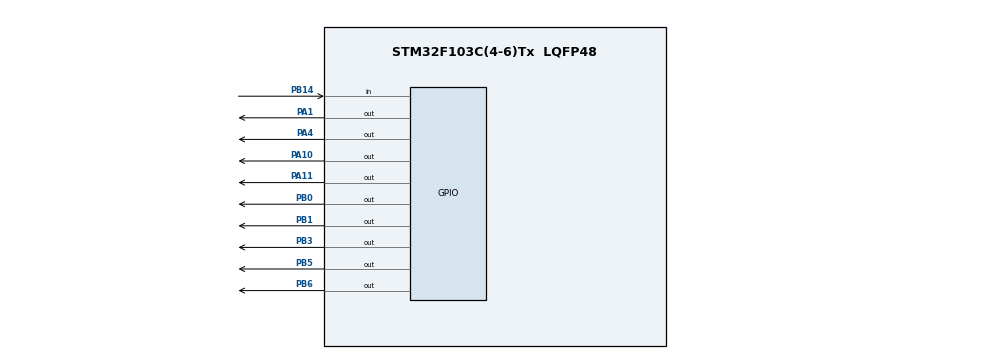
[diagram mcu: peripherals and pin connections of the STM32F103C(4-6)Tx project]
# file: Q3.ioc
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Mcu.Family=STM32F1
ProjectManager.StackSize=0x400
PA13.Signal=SYS_JTMS-SWDIO
ProjectManager.TargetToolchain=STM32CubeIDE
PB6.Signal=GPIO_Output
PA1.Signal=GPIO_Output
PB14.Signal=GPIO_Input
board=custom
RCC.APB2Freq_Value=8000000
PA14.Mode=Serial_Wire
PA13.Mode=Serial_Wire
Mcu.Name=STM32F103C(4-6)Tx
PB3.Signal=GPIO_Output
PA4.Signal=GPIO_Output
Mcu.Package=LQFP48
PB5.Signal=GPIO_Output
PB1.Signal=GPIO_Output
PA11.Signal=GPIO_Output
PA10.Signal=GPIO_Output
PA14.Signal=SYS_JTCK-SWCLK
ProjectManager.HeapSize=0x200
NVIC.PriorityGroup=NVIC_PRIORITYGROUP_4
RCC.APB1Freq_Value=8000000
PB0.Signal=GPIO_Output

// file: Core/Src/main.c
/* USER CODE BEGIN Header */
/**
  ******************************************************************************
  * @file           : main.c
  * @brief          : Main program body
  ******************************************************************************
  * @attention
  *
  * <h2><center>&copy; Copyright (c) 2021 STMicroelectronics.
  * All rights reserved.</center></h2>
  *
  * This software component is licensed by ST under BSD 3-Clause license,
  * the "License"; You may not use this file except in compliance with the
  * License. You may obtain a copy of the License at:
  *                        opensource.org/licenses/BSD-3-Clause
  *
  ******************************************************************************
  */
/* USER CODE END Header */
#include "main.h"

void SystemClock_Config(void);
static void MX_GPIO_Init(void);

int main(void)
{
  /* USER CODE BEGIN 1 */
	//int n=0, t=600;
  /* USER CODE END 1 */

  /* MCU Configuration--------------------------------------------------------*/

  /* Reset of all peripherals, Initializes the Flash interface and the Systick. */
  HAL_Init();

  /* Configure the system clock */
  SystemClock_Config();

  /* Initialize all configured peripherals */
  MX_GPIO_Init();

  /* Infinite loop */
  while (1)
  {

    /* USER CODE BEGIN 3 */

	  // 0
	  GPIOB -> BSRR = (1<<1)+(1<<0);
	  GPIOB -> ODR = (1<<1)+(1<<0)+(1<<6);
	  GPIOB -> BRR = (1<<0);
	  HAL_Delay(500);

	  GPIOB -> BSRR = (1<<1)+(1<<0);
	  GPIOB -> ODR = (1<<1)+(1<<0)+(1<<6);
	  GPIOB -> BRR = (1<<1);
	  HAL_Delay(500);

	  // 1
	  GPIOB -> BSRR = (1<<1)+(1<<0);
	  GPIOA -> ODR = (1<<4)+(1<<10);
	  GPIOB -> ODR = (1<<1)+(1<<0)+(1<<5);
	  GPIOB -> BRR = (1<<0);
	  HAL_Delay(500);

	  GPIOB -> BSRR = (1<<1)+(1<<0);
	  GPIOB -> ODR = (1<<1)+(1<<0)+(1<<19)+(1<<22)+(1<<6);
	  GPIOA-> ODR = (1<<1)+(1<<20)+(1<<11)+(1<<26);
	  GPIOB -> BRR = (1<<1);
	  HAL_Delay(500);
  }
  /* USER CODE END 3 */
}

void SystemClock_Config(void)
{
  RCC_OscInitTypeDef RCC_OscInitStruct = {0};
  RCC_ClkInitTypeDef RCC_ClkInitStruct = {0};

  /** Initializes the RCC Oscillators according to the specified parameters
  * in the RCC_OscInitTypeDef structure.
  */
  RCC_OscInitStruct.OscillatorType = RCC_OSCILLATORTYPE_HSI;
  RCC_OscInitStruct.HSIState = RCC_HSI_ON;
  RCC_OscInitStruct.HSICalibrationValue = RCC_HSICALIBRATION_DEFAULT;
  RCC_OscInitStruct.PLL.PLLState = RCC_PLL_NONE;
  if (HAL_RCC_OscConfig(&RCC_OscInitStruct) != HAL_OK)
  {
    Error_Handler();
  }
  /** Initializes the CPU, AHB and APB buses clocks
  */
  RCC_ClkInitStruct.ClockType = RCC_CLOCKTYPE_HCLK|RCC_CLOCKTYPE_SYSCLK
                              |RCC_CLOCKTYPE_PCLK1|RCC_CLOCKTYPE_PCLK2;
  RCC_ClkInitStruct.SYSCLKSource = RCC_SYSCLKSOURCE_HSI;
  RCC_ClkInitStruct.AHBCLKDivider = RCC_SYSCLK_DIV1;
  RCC_ClkInitStruct.APB1CLKDivider = RCC_HCLK_DIV1;
  RCC_ClkInitStruct.APB2CLKDivider = RCC_HCLK_DIV1;

  if (HAL_RCC_ClockConfig(&RCC_ClkInitStruct, FLASH_LATENCY_0) != HAL_OK)
  {
    Error_Handler();
  }
}

static void MX_GPIO_Init(void)
{
  GPIO_InitTypeDef GPIO_InitStruct = {0};

  /* GPIO Ports Clock Enable */
  __HAL_RCC_GPIOA_CLK_ENABLE();
  __HAL_RCC_GPIOB_CLK_ENABLE();

  /*Configure GPIO pin Output Level */
  HAL_GPIO_WritePin(GPIOA, GPIO_PIN_1|GPIO_PIN_4|GPIO_PIN_10|GPIO_PIN_11, GPIO_PIN_RESET);

  /*Configure GPIO pin Output Level */
  HAL_GPIO_WritePin(GPIOB, GPIO_PIN_0|GPIO_PIN_1|GPIO_PIN_3|GPIO_PIN_5
                          |GPIO_PIN_6, GPIO_PIN_RESET);

  /*Configure GPIO pins : PA1 PA4 PA10 PA11 */
  GPIO_InitStruct.Pin = GPIO_PIN_1|GPIO_PIN_4|GPIO_PIN_10|GPIO_PIN_11;
  GPIO_InitStruct.Mode = GPIO_MODE_OUTPUT_PP;
  GPIO_InitStruct.Pull = GPIO_NOPULL;
  GPIO_InitStruct.Speed = GPIO_SPEED_FREQ_LOW;
  HAL_GPIO_Init(GPIOA, &GPIO_InitStruct);

  /*Configure GPIO pins : PB0 PB1 PB3 PB5
                           PB6 */
  GPIO_InitStruct.Pin = GPIO_PIN_0|GPIO_PIN_1|GPIO_PIN_3|GPIO_PIN_5
                          |GPIO_PIN_6;
  GPIO_InitStruct.Mode = GPIO_MODE_OUTPUT_PP;
  GPIO_InitStruct.Pull = GPIO_NOPULL;
  GPIO_InitStruct.Speed = GPIO_SPEED_FREQ_LOW;
  HAL_GPIO_Init(GPIOB, &GPIO_InitStruct);

  /*Configure GPIO pin : PB14 */
  GPIO_InitStruct.Pin = GPIO_PIN_14;
  GPIO_InitStruct.Mode = GPIO_MODE_INPUT;
  GPIO_InitStruct.Pull = GPIO_NOPULL;
  HAL_GPIO_Init(GPIOB, &GPIO_InitStruct);

}

void Error_Handler(void)
{
  __disable_irq();
  while (1)
  {
  }
}

/************************ (C) COPYRIGHT STMicroelectronics *****END OF FILE****/
